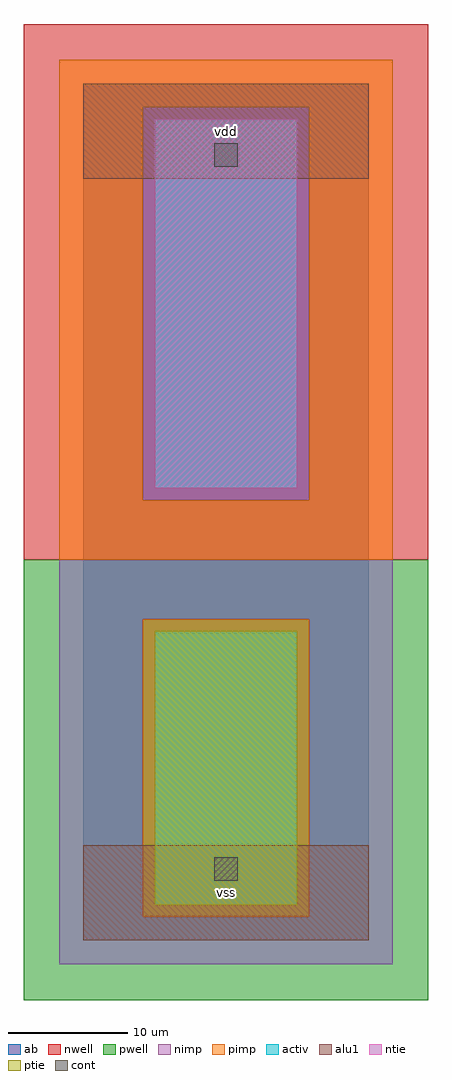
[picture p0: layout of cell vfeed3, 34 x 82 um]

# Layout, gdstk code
import gdstk
lib = gdstk.Library(unit=1e-6, precision=1e-09)
def R(c, l, rs):  # rectangles x0, y0, x1, y1
    for r in rs: c.add(gdstk.rectangle(r[:2], r[2:], *l))
ntie = (5, 0)
ptie = (6, 0)
cont = (25, 0)
pwell = (41, 0)
nwell = (42, 0)
activ = (43, 0)
pimp = (44, 0)
nimp = (45, 0)
alu1 = (49, 0)
ab = (63, 0)

vfeed3 = lib.new_cell('vfeed3')
R(vfeed3, ntie, [(6,38,18,69)])
R(vfeed3, ptie, [(6,3,18,26)])
R(vfeed3, cont, [(11,5,13,7), (11,65,13,67)])
R(vfeed3, pwell, [(-5,-5,29,32)])
R(vfeed3, nwell, [(-5,32,29,77)])
R(vfeed3, activ, [(6,3,18,26), (6,38,18,69)])
R(vfeed3, pimp, [(5,2,19,27), (-2,32,26,37), (-2,37,5,70), (19,37,26,70), (-2,70,26,74)])
R(vfeed3, nimp, [(-2,-2,26,2), (-2,2,5,27), (19,2,26,27), (-2,27,26,32), (5,37,19,70)])
R(vfeed3, alu1, [(0,0,24,8), (0,64,24,72)])
R(vfeed3, ab, [(0,0,24,72)])
vfeed3.add(gdstk.Label('vss', (12,4), layer=49, texttype=0))
vfeed3.add(gdstk.Label('vdd', (12,68), layer=49, texttype=0))

lib.write_gds('vfeed3.gds')
